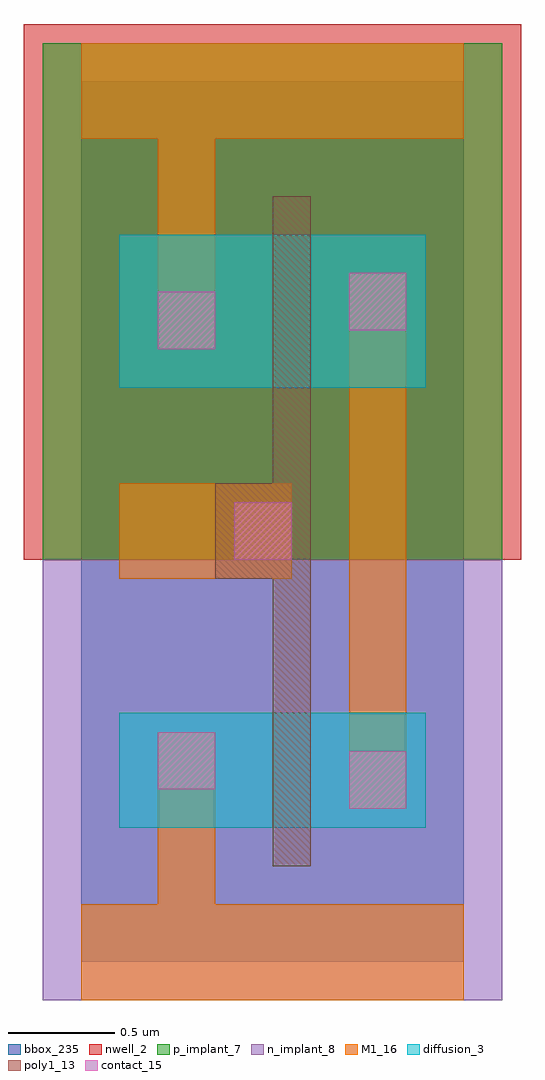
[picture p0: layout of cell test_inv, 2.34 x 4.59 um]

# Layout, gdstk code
import gdstk
lib = gdstk.Library(unit=1e-6, precision=1e-09)
def R(c, l, rs):  # rectangles x0, y0, x1, y1
    for r in rs: c.add(gdstk.rectangle(r[:2], r[2:], *l))
def P(c, l, *ps):  # polygons
    for p in ps: c.add(gdstk.Polygon(p, *l))
nwell_2 = (2, 0)
diffusion_3 = (3, 0)
p_implant_7 = (7, 0)
n_implant_8 = (8, 0)
poly1_13 = (13, 0)
contact_15 = (15, 0)
M1_16 = (16, 0)
bbox_235 = (62, 0)

test_inv = lib.new_cell('test_inv')
R(test_inv, nwell_2, [(-0.27,1.89,2.07,4.41)])
R(test_inv, diffusion_3, [(0.18,0.63,1.62,1.17), (0.18,2.7,1.62,3.42)])
R(test_inv, p_implant_7, [(-0.18,1.89,1.98,4.32)])
R(test_inv, n_implant_8, [(-0.18,-0.18,1.98,1.89)])
P(test_inv, poly1_13, [(0.9,0.45),(0.9,1.8),(0.63,1.8),(0.63,2.25),(0.9,2.25),(0.9,3.6),(1.08,3.6),(1.08,0.45)])
R(test_inv, contact_15, [(1.26,0.72,1.53,0.99), (0.36,0.81,0.63,1.08), (0.72,1.89,0.99,2.16), (0.36,2.88,0.63,3.15), (1.26,2.97,1.53,3.24)])
R(test_inv, M1_16, [(1.26,0.72,1.53,3.24), (0.18,1.8,0.99,2.25)])
P(test_inv, M1_16, [(0.36,2.88),(0.36,3.87),(0,3.87),(0,4.32),(1.8,4.32),(1.8,3.87),(0.63,3.87),(0.63,2.88)],
  [(0,-0.18),(0,0.27),(0.36,0.27),(0.36,1.08),(0.63,1.08),(0.63,0.27),(1.8,0.27),(1.8,-0.18)])
R(test_inv, bbox_235, [(0,0,1.8,4.14)])

lib.write_gds('test_inv.gds')
